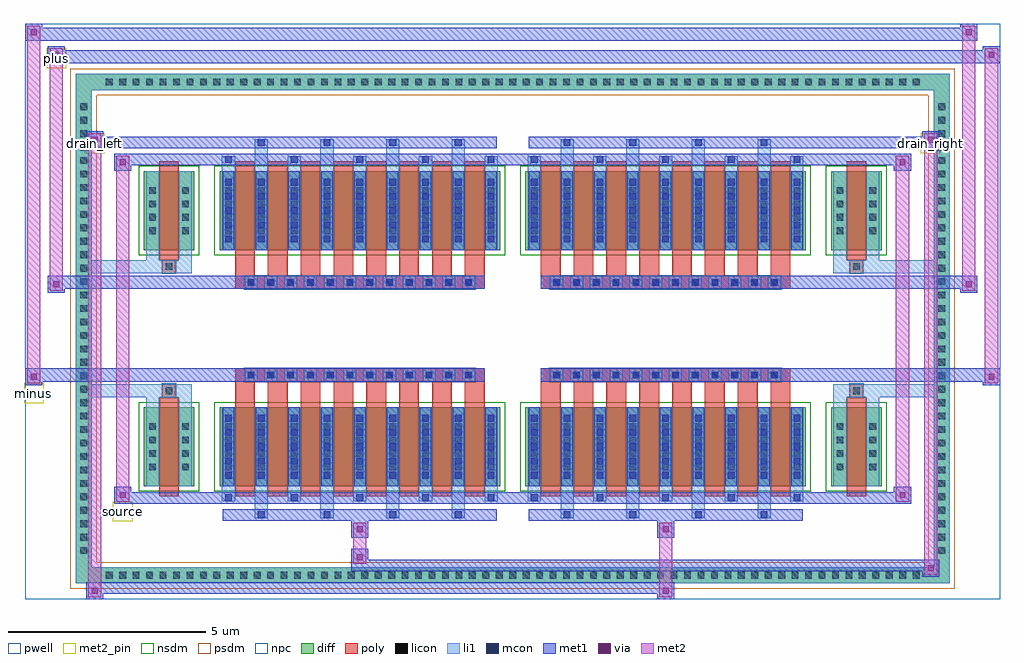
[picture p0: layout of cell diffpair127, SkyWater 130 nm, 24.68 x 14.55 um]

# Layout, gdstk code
import gdstk
lib = gdstk.Library(unit=1e-6, precision=5e-09)
def R(c, l, rs):  # rectangles x0, y0, x1, y1
    for r in rs: c.add(gdstk.rectangle(r[:2], r[2:], *l))
def A(c, l, x, y, w, h, nx, ny, dx, dy):  # array of equal rectangles
    R(c, l, [(x+i*dx, y+j*dy, x+i*dx+w, y+j*dy+h) for i in range(nx) for j in range(ny)])
def P(c, l, *ps):  # polygons
    for p in ps: c.add(gdstk.Polygon(p, *l))
pwell = (64, 44)
diff = (65, 20)
poly = (66, 20)
licon = (66, 44)
li1 = (67, 20)
mcon = (67, 44)
met1 = (68, 20)
via = (68, 44)
met2_pin = (69, 16)
met2 = (69, 20)
nsdm = (93, 44)
psdm = (94, 20)
npc = (95, 20)

diffpair127 = lib.new_cell('diffpair127')
R(diffpair127, pwell, [(-12.32,-6.84,12.32,7.71), (-9.64,-5.03,-0.01,-0.805), (0.01,-5.03,9.64,-0.805), (-9.64,0.805,-0.01,5.03), (0.01,0.805,9.64,5.03)])
A(diffpair127, diff, -10.405, -6.44, 0.41, 0.41, 61, 2, 0.34, 12.47)
A(diffpair127, diff, -11.05, -5.815, 0.41, 0.41, 1, 34, 0, 0.34)
A(diffpair127, diff, 10.64, -5.815, 0.41, 0.41, 1, 34, 0, 0.34)
R(diffpair127, diff, [(-10.405,-6.44,10.405,-6.03), (-11.05,-5.815,-10.64,5.815), (10.64,-5.815,11.05,5.815), (-9.33,-3.985,-8.05,-1.985), (-7.41,-3.985,-0.32,-1.985), (0.32,-3.985,7.41,-1.985), (8.05,-3.985,9.33,-1.985), (-9.33,1.985,-8.05,3.985), (-7.41,1.985,-0.32,3.985), (0.32,1.985,7.41,3.985), (8.05,1.985,9.33,3.985), (-10.405,6.03,10.405,6.44)])
P(diffpair127, diff, [(11.05,6.44),(-11.05,6.44),(-11.05,-6.03),(-10.64,-6.03),(-10.64,6.03),(10.64,6.03),(10.64,-6.03),(-10.64,-6.03),(-11.05,-6.03),(-11.05,-6.44),(11.05,-6.44)])
A(diffpair127, poly, -7.02, -4.235, 0.5, 2.5, 8, 2, 0.83, 5.97)
A(diffpair127, poly, 0.71, -4.235, 0.5, 2.5, 8, 2, 0.83, 5.97)
A(diffpair127, poly, -7.02, -1.735, 0.5, 0.4, 8, 2, 0.83, 3.07)
A(diffpair127, poly, 0.71, -1.735, 0.5, 0.4, 8, 2, 0.83, 3.07)
A(diffpair127, poly, -6.78, -1.335, 0.33, 0.33, 12, 2, 0.5, 2.34)
A(diffpair127, poly, 0.95, -1.335, 0.33, 0.33, 12, 2, 0.5, 2.34)
R(diffpair127, poly, [(-8.94,-4.235,-8.44,-1.735), (8.44,-4.235,8.94,-1.735), (-8.855,-1.735,-8.525,-1.405), (-8.855,-1.735,-8.525,-1.405), (8.525,-1.735,8.855,-1.405), (8.525,-1.735,8.855,-1.405), (-7.02,-1.335,-0.71,-1.005), (0.71,-1.335,7.02,-1.005), (-7.02,1.005,-0.71,1.335), (0.71,1.005,7.02,1.335), (-8.855,1.405,-8.525,1.735), (-8.855,1.405,-8.525,1.735), (8.525,1.405,8.855,1.735), (8.525,1.405,8.855,1.735), (-8.94,1.735,-8.44,4.235), (8.44,1.735,8.94,4.235)])
A(diffpair127, licon, -10.285, -6.32, 0.17, 0.17, 61, 2, 0.34, 12.47)
A(diffpair127, licon, -10.93, -5.695, 0.17, 0.17, 1, 34, 0, 0.34)
A(diffpair127, licon, 10.76, -5.695, 0.17, 0.17, 1, 34, 0, 0.34)
A(diffpair127, licon, -9.19, -3.58, 0.17, 0.17, 1, 4, 0, 0.34)
A(diffpair127, licon, -8.36, -3.58, 0.17, 0.17, 1, 4, 0, 0.34)
A(diffpair127, licon, -7.27, -3.58, 0.17, 0.17, 9, 4, 0.83, 0.34)
A(diffpair127, licon, 0.46, -3.58, 0.17, 0.17, 9, 4, 0.83, 0.34)
A(diffpair127, licon, 8.19, -3.58, 0.17, 0.17, 1, 4, 0, 0.34)
A(diffpair127, licon, 9.02, -3.58, 0.17, 0.17, 1, 4, 0, 0.34)
A(diffpair127, licon, -6.7, -1.255, 0.17, 0.17, 12, 2, 0.5, 2.34)
A(diffpair127, licon, 1.03, -1.255, 0.17, 0.17, 12, 2, 0.5, 2.34)
A(diffpair127, licon, -9.19, 2.39, 0.17, 0.17, 1, 4, 0, 0.34)
A(diffpair127, licon, -8.36, 2.39, 0.17, 0.17, 1, 4, 0, 0.34)
A(diffpair127, licon, -7.27, 2.39, 0.17, 0.17, 9, 4, 0.83, 0.34)
A(diffpair127, licon, 0.46, 2.39, 0.17, 0.17, 9, 4, 0.83, 0.34)
A(diffpair127, licon, 8.19, 2.39, 0.17, 0.17, 1, 4, 0, 0.34)
A(diffpair127, licon, 9.02, 2.39, 0.17, 0.17, 1, 4, 0, 0.34)
R(diffpair127, licon, [(-8.775,-1.655,-8.605,-1.485), (8.605,-1.655,8.775,-1.485), (-8.775,1.485,-8.605,1.655), (8.605,1.485,8.775,1.655)])
A(diffpair127, li1, -10.365, -6.4, 0.33, 0.33, 61, 2, 0.34, 12.47)
A(diffpair127, li1, -11.01, -5.775, 0.33, 0.33, 1, 34, 0, 0.34)
A(diffpair127, li1, 10.68, -5.775, 0.33, 0.33, 1, 34, 0, 0.34)
A(diffpair127, li1, -6.52, -4.79, 0.33, 0.805, 4, 2, 1.66, 8.775)
A(diffpair127, li1, -6.44, -4.79, 0.17, 0.17, 4, 2, 1.66, 9.41)
A(diffpair127, li1, 1.21, -4.79, 0.33, 0.805, 4, 2, 1.66, 8.775)
A(diffpair127, li1, 1.29, -4.79, 0.17, 0.17, 4, 2, 1.66, 9.41)
A(diffpair127, li1, -7.35, -4.36, 0.33, 0.375, 5, 2, 1.66, 8.345)
A(diffpair127, li1, -7.27, -4.36, 0.17, 0.17, 5, 2, 1.66, 8.55)
A(diffpair127, li1, 0.38, -4.36, 0.33, 0.375, 5, 2, 1.66, 8.345)
A(diffpair127, li1, 0.46, -4.36, 0.17, 0.17, 5, 2, 1.66, 8.55)
A(diffpair127, li1, -7.35, -3.985, 0.33, 2, 9, 2, 0.83, 5.97)
A(diffpair127, li1, 0.38, -3.985, 0.33, 2, 9, 2, 0.83, 5.97)
A(diffpair127, li1, -7.27, -3.79, 0.17, 0.17, 9, 5, 0.83, 0.36)
A(diffpair127, li1, -7.27, -3.79, 0.17, 1.61, 9, 2, 0.83, 5.97)
A(diffpair127, li1, 0.46, -3.79, 0.17, 0.17, 9, 5, 0.83, 0.36)
A(diffpair127, li1, 0.46, -3.79, 0.17, 1.61, 9, 2, 0.83, 5.97)
A(diffpair127, li1, -9.27, -3.66, 0.33, 0.33, 1, 4, 0, 0.34)
A(diffpair127, li1, -8.44, -3.66, 0.33, 0.33, 1, 4, 0, 0.34)
A(diffpair127, li1, -7.35, -3.66, 0.33, 0.33, 9, 4, 0.83, 0.34)
A(diffpair127, li1, 0.38, -3.66, 0.33, 0.33, 9, 4, 0.83, 0.34)
A(diffpair127, li1, 8.11, -3.66, 0.33, 0.33, 1, 4, 0, 0.34)
A(diffpair127, li1, 8.94, -3.66, 0.33, 0.33, 1, 4, 0, 0.34)
A(diffpair127, li1, -6.78, -1.335, 0.33, 0.33, 12, 2, 0.5, 2.34)
A(diffpair127, li1, 0.95, -1.335, 0.33, 0.33, 12, 2, 0.5, 2.34)
A(diffpair127, li1, -7.27, 2.18, 0.17, 0.17, 9, 5, 0.83, 0.36)
A(diffpair127, li1, 0.46, 2.18, 0.17, 0.17, 9, 5, 0.83, 0.36)
A(diffpair127, li1, -9.27, 2.31, 0.33, 0.33, 1, 4, 0, 0.34)
A(diffpair127, li1, -8.44, 2.31, 0.33, 0.33, 1, 4, 0, 0.34)
A(diffpair127, li1, -7.35, 2.31, 0.33, 0.33, 9, 4, 0.83, 0.34)
A(diffpair127, li1, 0.38, 2.31, 0.33, 0.33, 9, 4, 0.83, 0.34)
A(diffpair127, li1, 8.11, 2.31, 0.33, 0.33, 1, 4, 0, 0.34)
A(diffpair127, li1, 8.94, 2.31, 0.33, 0.33, 1, 4, 0, 0.34)
R(diffpair127, li1, [(-11.05,-6.44,-10.64,-6.03), (-11.05,-6.44,-10.64,-6.03), (-10.64,-6.44,10.64,-6.03), (10.64,-6.44,11.05,-6.03), (10.64,-6.44,11.05,-6.03), (-11.05,-6.03,-10.64,6.03), (10.64,-6.03,11.05,6.03), (-9.27,-3.985,-8.94,-1.985), (-8.44,-3.985,-8.11,-1.985), (8.11,-3.985,8.44,-1.985), (8.94,-3.985,9.27,-1.985), (-9.27,-1.985,-8.94,-1.405), (-8.44,-1.985,-8.11,-1.405), (8.11,-1.985,8.44,-1.405), (8.94,-1.985,9.27,-1.405), (-11.05,-1.735,-8.855,-1.405), (-9.27,-1.735,-8.855,-1.405), (-8.855,-1.735,-8.525,-1.405), (-8.525,-1.735,-8.11,-1.405), (8.11,-1.735,8.525,-1.405), (8.525,-1.735,8.855,-1.405), (8.525,-1.735,11.05,-1.405), (8.855,-1.735,9.27,-1.405), (-11.05,1.405,-8.855,1.735), (-9.27,1.405,-8.855,1.735), (-9.27,1.405,-8.94,1.985), (-8.855,1.405,-8.525,1.735), (-8.525,1.405,-8.11,1.735), (-8.44,1.405,-8.11,1.985), (8.11,1.405,8.525,1.735), (8.11,1.405,8.44,1.985), (8.525,1.405,8.855,1.735), (8.525,1.405,11.05,1.735), (8.855,1.405,9.27,1.735), (8.94,1.405,9.27,1.985), (-9.27,1.985,-8.94,3.985), (-8.44,1.985,-8.11,3.985), (8.11,1.985,8.44,3.985), (8.94,1.985,9.27,3.985), (-11.05,6.03,-10.64,6.44), (-11.05,6.03,-10.64,6.44), (-10.64,6.03,10.64,6.44), (10.64,6.03,11.05,6.44), (10.64,6.03,11.05,6.44)])
A(diffpair127, mcon, -6.44, -4.79, 0.17, 0.17, 4, 2, 1.66, 9.41)
A(diffpair127, mcon, 1.29, -4.79, 0.17, 0.17, 4, 2, 1.66, 9.41)
A(diffpair127, mcon, -7.27, -4.36, 0.17, 0.17, 5, 2, 1.66, 8.55)
A(diffpair127, mcon, 0.46, -4.36, 0.17, 0.17, 5, 2, 1.66, 8.55)
A(diffpair127, mcon, -7.27, -3.79, 0.17, 0.17, 9, 5, 0.83, 0.36)
A(diffpair127, mcon, 0.46, -3.79, 0.17, 0.17, 9, 5, 0.83, 0.36)
A(diffpair127, mcon, -6.7, -1.255, 0.17, 0.17, 12, 2, 0.5, 2.34)
A(diffpair127, mcon, 1.03, -1.255, 0.17, 0.17, 12, 2, 0.5, 2.34)
A(diffpair127, mcon, -7.27, 2.18, 0.17, 0.17, 9, 5, 0.83, 0.36)
A(diffpair127, mcon, 0.46, 2.18, 0.17, 0.17, 9, 5, 0.83, 0.36)
A(diffpair127, met1, -6.5, -4.85, 0.29, 0.29, 4, 2, 1.66, 9.41)
A(diffpair127, met1, 1.23, -4.85, 0.29, 0.29, 4, 2, 1.66, 9.41)
A(diffpair127, met1, -7.33, -4.42, 0.29, 0.29, 5, 2, 1.66, 8.55)
A(diffpair127, met1, 0.4, -4.42, 0.29, 0.29, 5, 2, 1.66, 8.55)
A(diffpair127, met1, -7.33, -3.985, 0.29, 2, 9, 2, 0.83, 5.97)
A(diffpair127, met1, 0.4, -3.985, 0.29, 2, 9, 2, 0.83, 5.97)
A(diffpair127, met1, -7.33, -3.85, 0.29, 0.29, 9, 5, 0.83, 0.36)
A(diffpair127, met1, 0.4, -3.85, 0.29, 0.29, 9, 5, 0.83, 0.36)
A(diffpair127, met1, -6.76, -1.315, 0.29, 0.29, 12, 2, 0.5, 2.34)
A(diffpair127, met1, 0.97, -1.315, 0.29, 0.29, 12, 2, 0.5, 2.34)
A(diffpair127, met1, -7.33, 2.12, 0.29, 0.29, 9, 5, 0.83, 0.36)
A(diffpair127, met1, 0.4, 2.12, 0.29, 0.29, 9, 5, 0.83, 0.36)
R(diffpair127, met1, [(-10.78,-6.84,-10.35,-6.41), (3.65,-6.84,4.08,-6.41), (-10.78,-6.7,4.08,-6.41), (10.35,-6.27,10.78,-5.84), (-4.08,-6.13,10.78,-5.84), (-4.08,-5.99,-3.65,-5.56), (-4.08,-5.28,-3.65,-4.85), (3.65,-5.28,4.08,-4.85), (-7.33,-4.85,-0.4,-4.56), (0.4,-4.85,7.33,-4.56), (-10.07,-4.42,-9.64,-3.99), (-10.07,-4.42,-7.33,-4.13), (-7.33,-4.42,-0.4,-4.13), (-0.4,-4.42,0.4,-4.13), (0.4,-4.42,7.33,-4.13), (7.33,-4.42,10.07,-4.13), (9.64,-4.42,10.07,-3.99), (-12.32,-1.435,-11.89,-1.005), (11.89,-1.435,12.32,-1.005), (-12.32,-1.335,-0.71,-1.005), (-7.02,-1.335,-0.71,-1.005), (0.71,-1.335,7.02,-1.005), (0.71,-1.335,12.32,-1.005), (-11.75,0.905,-11.32,1.335), (11.32,0.905,11.75,1.335), (-11.75,1.005,-7.02,1.335), (-7.02,1.005,-0.71,1.335), (0.71,1.005,7.02,1.335), (7.02,1.005,11.75,1.335), (-10.07,3.99,-9.64,4.42), (9.64,3.99,10.07,4.42), (-10.07,4.13,-7.33,4.42), (-7.33,4.13,-0.4,4.42), (-0.4,4.13,0.4,4.42), (0.4,4.13,7.33,4.42), (7.33,4.13,10.07,4.42), (-10.78,4.56,-10.35,4.99), (-10.78,4.56,-7.33,4.85), (-7.33,4.56,-0.4,4.85), (0.4,4.56,7.33,4.85), (7.33,4.56,10.78,4.85), (10.35,4.56,10.78,4.99), (-11.75,6.71,-11.32,7.14), (-11.75,6.71,-9.64,7.04), (-9.64,6.71,9.64,7.04), (9.64,6.71,12.32,7.04), (11.89,6.71,12.32,7.14), (-12.32,7.28,-11.89,7.71), (-12.32,7.28,-9.64,7.61), (-9.64,7.28,9.64,7.61), (9.64,7.28,11.75,7.61), (11.32,7.28,11.75,7.71)])
R(diffpair127, via, [(-10.64,-6.7,-10.49,-6.55), (3.79,-6.7,3.94,-6.55), (10.49,-6.13,10.64,-5.98), (-3.94,-5.85,-3.79,-5.7), (-3.94,-5.14,-3.79,-4.99), (3.79,-5.14,3.94,-4.99), (-9.93,-4.28,-9.78,-4.13), (9.78,-4.28,9.93,-4.13), (-12.18,-1.295,-12.03,-1.145), (12.03,-1.295,12.18,-1.145), (-11.61,1.045,-11.46,1.195), (11.46,1.045,11.61,1.195), (-9.93,4.13,-9.78,4.28), (9.78,4.13,9.93,4.28), (-10.64,4.7,-10.49,4.85), (10.49,4.7,10.64,4.85), (-11.61,6.85,-11.46,7), (12.03,6.85,12.18,7), (-12.18,7.42,-12.03,7.57), (11.46,7.42,11.61,7.57)])
R(diffpair127, met2_pin, [(-10.105,-4.87,-9.605,-4.37), (-12.355,-1.885,-11.855,-1.385), (-10.815,4.44,-10.315,4.94), (10.315,4.44,10.815,4.94), (-11.785,6.59,-11.285,7.09)])
R(diffpair127, met2, [(-10.73,-6.79,-10.4,-6.46), (-10.73,-6.79,-10.4,4.94), (3.7,-6.79,4.03,-6.46), (3.7,-6.46,4.03,-5.23), (10.4,-6.22,10.73,-5.89), (10.4,-6.22,10.73,4.94), (-4.03,-5.94,-3.7,-5.61), (-4.03,-5.61,-3.7,-5.23), (-4.03,-5.23,-3.7,-4.9), (3.7,-5.23,4.03,-4.9), (-10.02,-4.37,-9.69,-4.04), (-10.02,-4.37,-9.69,4.37), (9.69,-4.37,10.02,-4.04), (9.69,-4.37,10.02,4.37), (-12.27,-1.385,-11.94,-1.055), (-12.27,-1.385,-11.94,7.66), (11.94,-1.385,12.27,-1.055), (11.94,-1.385,12.27,7.09), (-11.7,0.955,-11.37,1.285), (-11.7,0.955,-11.37,7.09), (11.37,0.955,11.7,1.285), (11.37,0.955,11.7,7.66), (-10.02,4.04,-9.69,4.37), (9.69,4.04,10.02,4.37), (-10.73,4.61,-10.4,4.94), (10.4,4.61,10.73,4.94), (-11.7,6.76,-11.37,7.09), (11.94,6.76,12.27,7.09), (-12.27,7.33,-11.94,7.66), (11.37,7.33,11.7,7.66)])
P(diffpair127, met2, [(12.27,-1.385),(12.27,-1.385),(12.27,-1.055),(12.27,-1.055)],
  [(12.27,6.76),(12.27,6.76),(12.27,7.09),(12.27,7.09)],
  [(-11.94,-1.385),(-11.94,-1.385),(-11.94,-1.055),(-11.94,-1.055)],
  [(-11.94,7.33),(-11.94,7.33),(-11.94,7.66),(-11.94,7.66)],
  [(11.7,0.955),(11.7,0.955),(11.7,1.285),(11.7,1.285)],
  [(11.7,7.33),(11.7,7.33),(11.7,7.66),(11.7,7.66)],
  [(-11.37,0.955),(-11.37,0.955),(-11.37,1.285),(-11.37,1.285)],
  [(-11.37,6.76),(-11.37,6.76),(-11.37,7.09),(-11.37,7.09)],
  [(-10.4,-6.79),(-10.4,-6.79),(-10.4,-6.46),(-10.4,-6.46)],
  [(-10.4,4.61),(-10.4,4.61),(-10.4,4.94),(-10.4,4.94)],
  [(10.73,-6.22),(10.73,-6.22),(10.73,-5.89),(10.73,-5.89)],
  [(10.73,4.61),(10.73,4.61),(10.73,4.94),(10.73,4.94)],
  [(-9.69,-4.37),(-9.69,-4.37),(-9.69,-4.04),(-9.69,-4.04)],
  [(-9.69,4.04),(-9.69,4.04),(-9.69,4.37),(-9.69,4.37)],
  [(10.02,-4.37),(10.02,-4.37),(10.02,-4.04),(10.02,-4.04)],
  [(10.02,4.04),(10.02,4.04),(10.02,4.37),(10.02,4.37)])
R(diffpair127, nsdm, [(-9.46,-4.115,-7.92,-1.855), (-7.54,-4.115,-0.19,-1.855), (0.19,-4.115,7.54,-1.855), (7.92,-4.115,9.46,-1.855), (-9.46,1.855,-7.92,4.115), (-7.54,1.855,-0.19,4.115), (0.19,1.855,7.54,4.115), (7.92,1.855,9.46,4.115)])
P(diffpair127, psdm, [(11.18,6.57),(-11.18,6.57),(-11.18,-5.9),(-10.51,-5.9),(-10.51,5.9),(10.51,5.9),(10.51,-5.9),(-10.51,-5.9),(-11.18,-5.9),(-11.18,-6.57),(11.18,-6.57)])
A(diffpair127, npc, -6.8, -1.355, 0.37, 0.37, 12, 2, 0.5, 2.34)
A(diffpair127, npc, 0.93, -1.355, 0.37, 0.37, 12, 2, 0.5, 2.34)
R(diffpair127, npc, [(-8.875,-1.755,-8.505,-1.385), (8.505,-1.755,8.875,-1.385), (-6.8,-1.355,-5.93,-0.985), (-6.8,-1.355,-5.93,-0.985), (-6.3,-1.355,-5.43,-0.985), (-6.3,-1.355,-5.43,-0.985), (-5.8,-1.355,-4.93,-0.985), (-5.8,-1.355,-4.93,-0.985), (-5.3,-1.355,-4.43,-0.985), (-5.3,-1.355,-4.43,-0.985), (-4.8,-1.355,-3.93,-0.985), (-4.8,-1.355,-3.93,-0.985), (-4.3,-1.355,-3.43,-0.985), (-4.3,-1.355,-3.43,-0.985), (-3.8,-1.355,-2.93,-0.985), (-3.8,-1.355,-2.93,-0.985), (-3.3,-1.355,-2.43,-0.985), (-3.3,-1.355,-2.43,-0.985), (-2.8,-1.355,-1.93,-0.985), (-2.8,-1.355,-1.93,-0.985), (-2.3,-1.355,-1.43,-0.985), (-2.3,-1.355,-1.43,-0.985), (-1.8,-1.355,-0.93,-0.985), (-1.8,-1.355,-0.93,-0.985), (0.93,-1.355,1.8,-0.985), (0.93,-1.355,1.8,-0.985), (1.43,-1.355,2.3,-0.985), (1.43,-1.355,2.3,-0.985), (1.93,-1.355,2.8,-0.985), (1.93,-1.355,2.8,-0.985), (2.43,-1.355,3.3,-0.985), (2.43,-1.355,3.3,-0.985), (2.93,-1.355,3.8,-0.985), (2.93,-1.355,3.8,-0.985), (3.43,-1.355,4.3,-0.985), (3.43,-1.355,4.3,-0.985), (3.93,-1.355,4.8,-0.985), (3.93,-1.355,4.8,-0.985), (4.43,-1.355,5.3,-0.985), (4.43,-1.355,5.3,-0.985), (4.93,-1.355,5.8,-0.985), (4.93,-1.355,5.8,-0.985), (5.43,-1.355,6.3,-0.985), (5.43,-1.355,6.3,-0.985), (5.93,-1.355,6.8,-0.985), (5.93,-1.355,6.8,-0.985), (-6.8,0.985,-5.93,1.355), (-6.8,0.985,-5.93,1.355), (-6.3,0.985,-5.43,1.355), (-6.3,0.985,-5.43,1.355), (-5.8,0.985,-4.93,1.355), (-5.8,0.985,-4.93,1.355), (-5.3,0.985,-4.43,1.355), (-5.3,0.985,-4.43,1.355), (-4.8,0.985,-3.93,1.355), (-4.8,0.985,-3.93,1.355), (-4.3,0.985,-3.43,1.355), (-4.3,0.985,-3.43,1.355), (-3.8,0.985,-2.93,1.355), (-3.8,0.985,-2.93,1.355), (-3.3,0.985,-2.43,1.355), (-3.3,0.985,-2.43,1.355), (-2.8,0.985,-1.93,1.355), (-2.8,0.985,-1.93,1.355), (-2.3,0.985,-1.43,1.355), (-2.3,0.985,-1.43,1.355), (-1.8,0.985,-0.93,1.355), (-1.8,0.985,-0.93,1.355), (0.93,0.985,1.8,1.355), (0.93,0.985,1.8,1.355), (1.43,0.985,2.3,1.355), (1.43,0.985,2.3,1.355), (1.93,0.985,2.8,1.355), (1.93,0.985,2.8,1.355), (2.43,0.985,3.3,1.355), (2.43,0.985,3.3,1.355), (2.93,0.985,3.8,1.355), (2.93,0.985,3.8,1.355), (3.43,0.985,4.3,1.355), (3.43,0.985,4.3,1.355), (3.93,0.985,4.8,1.355), (3.93,0.985,4.8,1.355), (4.43,0.985,5.3,1.355), (4.43,0.985,5.3,1.355), (4.93,0.985,5.8,1.355), (4.93,0.985,5.8,1.355), (5.43,0.985,6.3,1.355), (5.43,0.985,6.3,1.355), (5.93,0.985,6.8,1.355), (5.93,0.985,6.8,1.355), (-8.875,1.385,-8.505,1.755), (8.505,1.385,8.875,1.755)])
diffpair127.add(gdstk.Label('minus', (-12.105,-1.635), layer=69, texttype=5))
diffpair127.add(gdstk.Label('drain_right', (10.565,4.69), layer=69, texttype=5))
diffpair127.add(gdstk.Label('drain_left', (-10.565,4.69), layer=69, texttype=5))
diffpair127.add(gdstk.Label('source', (-9.855,-4.62), layer=69, texttype=5))
diffpair127.add(gdstk.Label('plus', (-11.535,6.84), layer=69, texttype=5))

lib.write_gds('diffpair127.gds')
